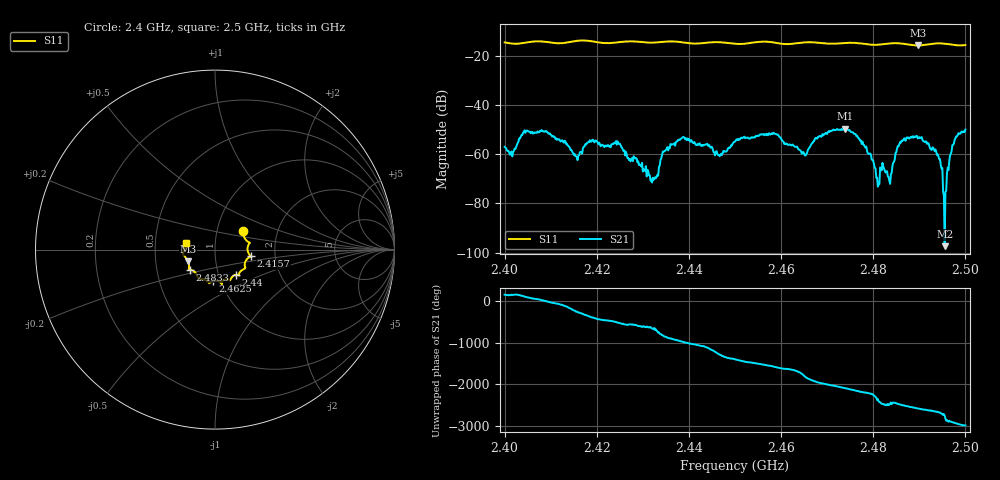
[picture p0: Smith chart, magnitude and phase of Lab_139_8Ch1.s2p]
# Hz S RI R 50
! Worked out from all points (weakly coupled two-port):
!   601 points, 2.4 GHz to 2.5 GHz, reference 50 ohm
!   highest |S21| = -49.64 dB at 2.4738 GHz (marker M1); lowest = -97.4 dB at 2.4955 GHz (marker M2)
!   lowest |S11| = -15.7 dB at 2.4897 GHz (marker M3), VSWR 1.39, Z = 36.7 - j4.95 ohm
!   |S11| at or under -10 dB: start of sweep to end of sweep
!   S12 and S22 are empty: the file has one direction only
!   S11 on the Smith chart (normalised r, x): 2.4 GHz: 1.33, +0.29; 2.4157 GHz: 1.49, -0.12; 2.44 GHz: 1.21, -0.35; 2.4625 GHz: 0.92, -0.34; 2.4833 GHz: 0.74, -0.17; 2.5 GHz: 0.72, +0.06
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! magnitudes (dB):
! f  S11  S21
! 2.4 GHz  -14.5  -57.0
! 2.4085 GHz  -14.2  -50.6
! 2.4157 GHz  -13.9  -61.2
! 2.4167 GHz  -13.7  -59.1
! 2.4245 GHz  -14.5  -54.7
! 2.4333 GHz  -14.4  -68.7
! 2.4348 GHz  -14.2  -58.6
! 2.44 GHz  -14.8  -53.7
! 2.4467 GHz  -14.4  -60.8
! 2.45 GHz  -15.0  -54.8
! 2.4625 GHz  -15.0  -56.0
! 2.4667 GHz  -14.4  -55.6
! 2.4738 GHz  -14.7  -49.6
! 2.4782 GHz  -15.1  -57.0
! 2.4808 GHz  -15.5  -69.6
! 2.4833 GHz  -15.0  -69.3
! 2.4858 GHz  -14.9  -55.1
! 2.4897 GHz  -15.7  -53.6
! 2.494 GHz  -14.9  -60.0
! 2.4955 GHz  -15.0  -97.4
! 2.4977 GHz  -15.6  -54.2
! 2.5 GHz  -15.5  -50.0
